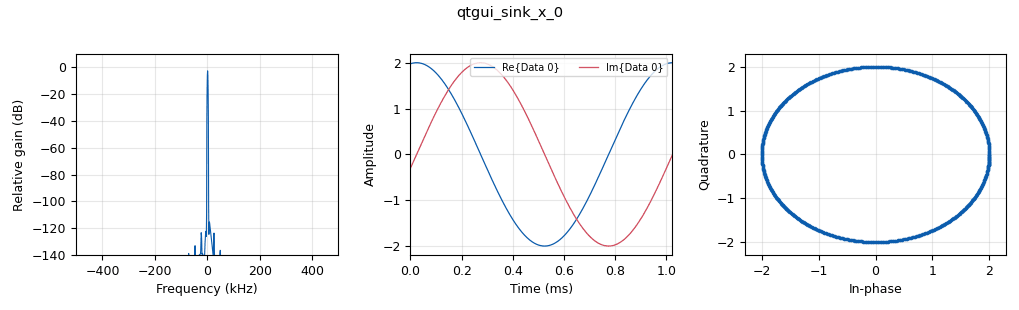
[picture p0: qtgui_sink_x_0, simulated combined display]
options:
  parameters:
    generate_options: qt_gui
    id: test
    output_language: python
    title: Not titled yet
  states: {}

blocks:
- name: samp_rate
  id: variable
  parameters:
    value: '1000000'
  states: {}
- name: sig
  id: variable_qtgui_push_button
  parameters:
    pressed: '1'
    released: '0'
    type: int
    value: '0'
  states: {}
- name: analog_sig_source_x_0
  id: analog_sig_source_x
  parameters:
    amp: '1'
    freq: '1000'
    offset: '0'
    phase: '0'
    samp_rate: samp_rate
    type: complex
    waveform: analog.GR_COS_WAVE
  states: {}
- name: analog_sig_source_x_1
  id: analog_sig_source_x
  parameters:
    amp: '1'
    freq: '800'
    offset: '0'
    phase: '0'
    samp_rate: samp_rate
    type: complex
    waveform: analog.GR_SIN_WAVE
  states: {}
- name: blocks_add_xx_0
  id: blocks_add_xx
  parameters:
    type: complex
  states: {}
- name: blocks_multiply_const_vxx_0
  id: blocks_multiply_const_vxx
  parameters:
    const: sig
    type: complex
  states: {}
- name: blocks_throttle_0
  id: blocks_throttle
  parameters:
    samples_per_second: samp_rate
    type: complex
  states: {}
- name: epy_block_0
  id: epy_block
  parameters:
    _source_code: |
      """
      Embedded Python Blocks:

      Each time this file is saved, GRC will instantiate the first class it finds
      to get ports and parameters of your block. The arguments to __init__  will
      be the parameters. All of them are required to have default values!
      """

      import numpy as np
      from gnuradio import gr


      class blk(gr.sync_block):  # other base classes are basic_block, decim_block, interp_block
          """Embedded Python Block example - a simple multiply const"""

          def __init__(self, example_param=1.0):  # only default arguments here
              """arguments to this function show up as parameters in GRC"""
              gr.sync_block.__init__(
                  self,
                  name='Embedded Python Block',   # will show up in GRC
                  in_sig=[np.complex64],
                  out_sig=[np.complex64]
              )
              # if an attribute with the same name as a parameter is found,
              # a callback is registered (properties work, too).
              self.example_param = example_param

          def work(self, input_items, output_items):
              """example: multiply with constant"""
              output_items[0][:] = input_items[0] * self.example_param
              return len(output_items[0])
    example_param: '2'
  states: {}
- name: gr_digital_rf_digital_rf_sink_0
  id: gr_digital_rf_digital_rf_sink
  parameters:
    center_freqs: '[]'
    channel0: ch0
    checksum: 'False'
    compression_level: '0'
    debug: 'False'
    file_cadence_ms: '1000'
    ignore_tags: 'False'
    input: fc32
    is_continuous: 'True'
    marching_periods: 'True'
    metadata: '{}'
    min_chunksize: '0'
    nchan: '1'
    sample_rate_denominator: '1'
    sample_rate_numerator: int(samp_rate)
    start: ''
    stop_on_skipped: 'False'
    stop_on_time_tag: 'False'
    subdir_cadence_s: '3600'
    top_level_dir: out
    uuid: ''
    vlen: '1'
  states: {state: disabled}
- name: gr_digital_rf_digital_rf_source_0
  id: gr_digital_rf_digital_rf_source
  parameters:
    channel0: fake-misa
    end0: ''
    gapless: 'False'
    hide_msg_port: 'True'
    min_chunksize: '0'
    nchan: '1'
    repeat: 'False'
    start0: ''
    throttle: 'False'
    top_level_dir: pulsar_sim
  states: {state: disabled}
- name: note_0
  id: note
  parameters:
    comment: |-
      DRF works here!
      However, it takes
      a really long time
      if a lot of data is
      sampled (make 
      sure to use 
      indices for more than
      5 sec of data). Also,
      repeat playback
      also works. DRF can
      save and read
      data samples in
      cf32.
    note: drf
  states: {}
- name: qtgui_sink_x_0
  id: qtgui_sink_x
  parameters:
    bw: samp_rate
    fc: '0'
    fftsize: '1024'
    type: complex
  states: {}

connections:
- [analog_sig_source_x_0, '0', blocks_add_xx_0, '0']
- [analog_sig_source_x_1, '0', blocks_multiply_const_vxx_0, '0']
- [blocks_add_xx_0, '0', epy_block_0, '0']
- [blocks_multiply_const_vxx_0, '0', blocks_add_xx_0, '1']
- [blocks_throttle_0, '0', gr_digital_rf_digital_rf_sink_0, '0']
- [blocks_throttle_0, '0', qtgui_sink_x_0, '0']
- [epy_block_0, '0', blocks_throttle_0, '0']
- [gr_digital_rf_digital_rf_source_0, '0', blocks_throttle_0, '0']

metadata:
  file_format: 1
  grc_version: 3.10.3.0
